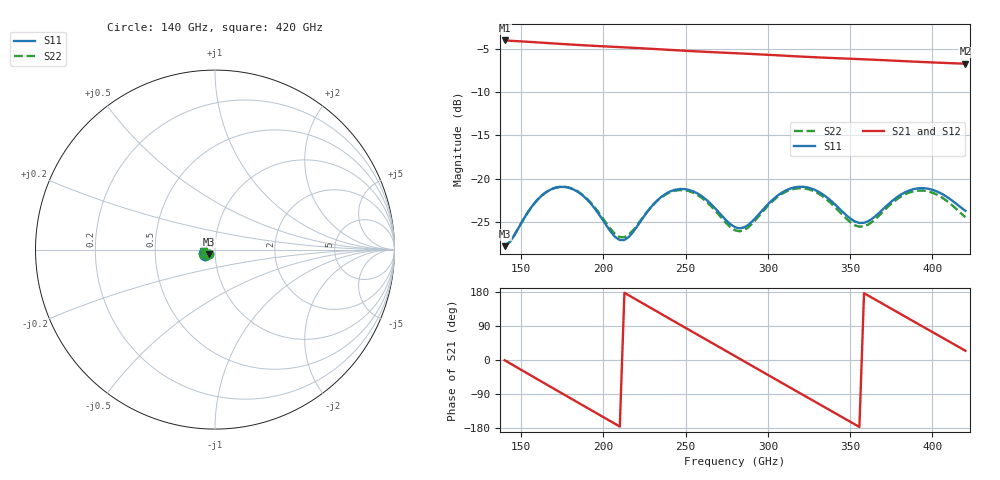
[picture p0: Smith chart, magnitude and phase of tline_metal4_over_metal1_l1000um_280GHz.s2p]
#  GHZ S DB R 50
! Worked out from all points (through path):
!   101 points, 140 GHz to 420 GHz, reference 50 ohm
!   highest |S21| = -4.07 dB at 140 GHz (marker M1); lowest = -6.7 dB at 420 GHz (marker M2)
!   group delay of S21, straight-line fit = 6.89 ps
!   lowest |S11| = -27.8 dB at 140 GHz (marker M3), VSWR 1.08, Z = 46.8 - j2.35 ohm
!   |S11| at or under -10 dB: start of sweep to end of sweep
!   |S22| runs from -27.7 to -20.9 dB; largest |S21 - S12| = 7.1e-14
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140  -27.80 -142.1  -4.07 -0.6  -4.07 -0.6  -27.72 -143.0
151.2  -24.79 -124.3  -4.19 -28.8  -4.19 -28.8  -24.78 -125.2
165.2  -21.57 -135.2  -4.35 -63.9  -4.35 -63.9  -21.57 -135.8
176.4  -20.96 -150.8  -4.49 -91.9  -4.49 -91.9  -20.94 -151.2
187.6  -21.97 -165.2  -4.62 -119.8  -4.62 -119.8  -21.90 -165.4
198.8  -24.53 -171.3  -4.73 -147.7  -4.73 -147.7  -24.34 -171.5
210  -27.10 -156.0  -4.84 -175.6  -4.84 -175.6  -26.75 -157.6
221.2  -25.32 -135.4  -4.95 156.4  -4.95 156.4  -25.20 -138.5
235.2  -22.11 -139.6  -5.10 121.5  -5.10 121.5  -22.17 -142.4
254.8  -21.49 -161.5  -5.31 72.8  -5.31 72.8  -21.65 -164.0
268.8  -23.61 -170.2  -5.44 38.1  -5.44 38.1  -23.87 -172.4
280  -25.61 -161.0  -5.54 10.3  -5.54 10.3  -25.96 -162.4
291.2  -24.80 -144.3  -5.64 -17.5  -5.64 -17.5  -25.05 -144.9
305.2  -22.06 -144.3  -5.78 -52.2  -5.78 -52.2  -22.21 -145.2
316.4  -21.00 -154.4  -5.89 -79.9  -5.89 -79.9  -21.16 -155.7
327.6  -21.22 -165.7  -5.99 -107.6  -5.99 -107.6  -21.42 -167.3
341.6  -23.13 -173.4  -6.11 -142.1  -6.11 -142.1  -23.45 -175.2
352.8  -24.94 -166.1  -6.20 -169.8  -6.20 -169.8  -25.37 -167.2
364  -24.54 -151.4  -6.29 162.5  -6.29 162.5  -24.89 -151.6
375.2  -22.62 -148.2  -6.39 134.8  -6.39 134.8  -22.87 -148.7
397.6  -21.18 -164.7  -6.58 79.6  -6.58 79.6  -21.49 -166.4
420  -23.72 -171.9  -6.75 24.5  -6.75 24.5  -24.45 -173.2
